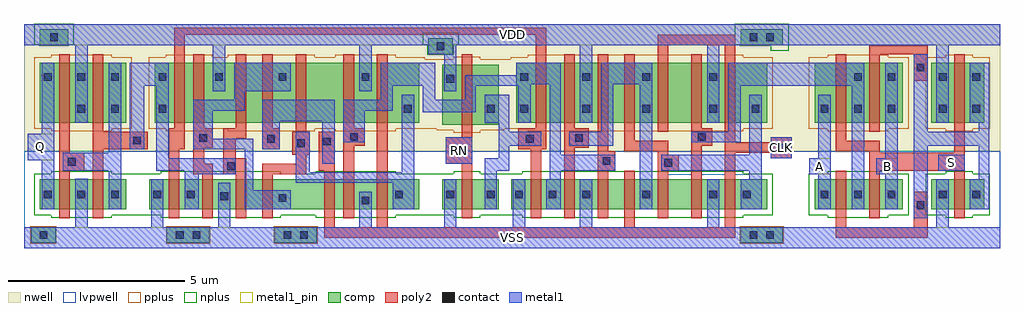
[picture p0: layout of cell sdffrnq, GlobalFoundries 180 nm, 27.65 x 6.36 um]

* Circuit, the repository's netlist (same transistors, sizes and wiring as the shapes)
* NGSPICE file created from sdffrnq.ext - technology: gf180mcuD

.subckt mux_as_component a_640_n30# a_1120_n30# a_459_n30# a_1120_460# w_330_300#
+ a_830_n30# a_580_300# VSUBS
X0 a_580_n190# a_580_300# a_1120_460# w_330_300# pfet_03v3 ad=0.935p pd=4.5u as=1.105p ps=4.7u w=1.7u l=0.3u
X1 a_640_n30# a_580_300# a_459_n30# w_330_300# pfet_03v3 ad=0.5525p pd=2.35u as=1.0285p ps=4.61u w=1.7u l=0.3u
X2 a_830_n30# a_580_300# a_640_n30# VSUBS nfet_03v3 ad=0.5525p pd=3u as=0.27625p ps=1.5u w=0.85u l=0.3u
X3 a_580_n190# a_580_300# a_1120_n30# VSUBS nfet_03v3 ad=0.4675p pd=2.8u as=0.5525p ps=3u w=0.85u l=0.3u
X4 a_640_n30# a_580_n190# a_459_n30# VSUBS nfet_03v3 ad=0.27625p pd=1.5u as=0.51425p ps=2.91u w=0.85u l=0.3u
X5 a_830_n30# a_580_n190# a_640_n30# w_330_300# pfet_03v3 ad=1.105p pd=4.7u as=0.5525p ps=2.35u w=1.7u l=0.3u
.ends

.subckt sdffrnq VDD VSS A B S CLK RN Q
Xmux_as_component_0 a_2090_270# VSS A VDD VDD B S VSS mux_as_component
X0 a_n870_270# RN VDD VDD pfet_03v3 ad=1.275p pd=4.9u as=0.935p ps=4.5u w=1.7u l=0.3u
X1 a_n1490_270# a_n1300_270# VSS VSS nfet_03v3 ad=0.54825p pd=2.99u as=0.27625p ps=1.5u w=0.85u l=0.3u
X2 a_n1300_270# a_n870_270# VSS VSS nfet_03v3 ad=0.27625p pd=1.5u as=0.4675p ps=2.8u w=0.85u l=0.3u
X3 a_120_270# a_n870_270# VSS VSS nfet_03v3 ad=0.27625p pd=1.5u as=0.4675p ps=2.8u w=0.85u l=0.3u
X4 a_1370_270# CLK a_1620_320# VSS nfet_03v3 ad=0.27625p pd=1.5u as=0.19125p ps=1.3u w=0.85u l=0.3u
X5 a_n730_520# CLK a_n430_810# VDD pfet_03v3 ad=0.5525p pd=2.35u as=0.3825p ps=2.15u w=1.7u l=0.3u
X6 a_n340_270# CLK VSS VSS nfet_03v3 ad=0.765p pd=3.5u as=0.27625p ps=1.5u w=0.85u l=0.3u
X7 VDD a_n730_520# a_n780_810# VDD pfet_03v3 ad=0.765p pd=2.6u as=0.2125p ps=1.95u w=1.7u l=0.3u
X8 a_1620_810# a_120_270# VDD VDD pfet_03v3 ad=0.3825p pd=2.15u as=0.5525p ps=2.35u w=1.7u l=0.3u
X9 VDD a_120_270# a_n90_810# VDD pfet_03v3 ad=0.5525p pd=2.35u as=0.8925p ps=2.75u w=1.7u l=0.3u
X10 a_1710_650# CLK VDD VDD pfet_03v3 ad=1.53p pd=5.2u as=0.5525p ps=2.35u w=1.7u l=0.3u
X11 a_1270_810# a_n870_270# a_120_270# VDD pfet_03v3 ad=0.425p pd=2.2u as=0.935p ps=4.5u w=1.7u l=0.3u
X12 a_n730_520# a_n340_270# a_n430_320# VSS nfet_03v3 ad=0.61625p pd=2.3u as=0.19125p ps=1.3u w=0.85u l=0.3u
X13 a_1620_320# a_120_270# VSS VSS nfet_03v3 ad=0.19125p pd=1.3u as=0.27625p ps=1.5u w=0.85u l=0.3u
X14 VSS a_n730_520# a_n1300_270# VSS nfet_03v3 ad=0.27625p pd=1.5u as=0.27625p ps=1.5u w=0.85u l=0.3u
X15 a_70_320# CLK a_n730_520# VSS nfet_03v3 ad=0.10625p pd=1.1u as=0.61625p ps=2.3u w=0.85u l=0.3u
X16 VDD a_n1490_270# Q VDD pfet_03v3 ad=0.5525p pd=2.35u as=0.935p ps=4.5u w=1.7u l=0.3u
X17 a_n90_810# a_n340_270# a_n730_520# VDD pfet_03v3 ad=0.8925p pd=2.75u as=0.5525p ps=2.35u w=1.7u l=0.3u
X18 VSS a_120_270# a_70_320# VSS nfet_03v3 ad=0.27625p pd=1.5u as=0.10625p ps=1.1u w=0.85u l=0.3u
X19 a_n430_810# a_n1300_270# VDD VDD pfet_03v3 ad=0.3825p pd=2.15u as=0.765p ps=2.6u w=1.7u l=0.3u
X20 VDD a_1370_270# a_1270_810# VDD pfet_03v3 ad=0.5525p pd=2.35u as=0.425p ps=2.2u w=1.7u l=0.3u
X21 a_1960_810# CLK a_1370_270# VDD pfet_03v3 ad=0.5525p pd=2.35u as=0.5525p ps=2.35u w=1.7u l=0.3u
X22 a_1710_650# CLK VSS VSS nfet_03v3 ad=0.765p pd=3.5u as=0.27625p ps=1.5u w=0.85u l=0.3u
X23 a_n780_810# a_n870_270# a_n1300_270# VDD pfet_03v3 ad=0.2125p pd=1.95u as=0.935p ps=4.5u w=1.7u l=0.3u
X24 VDD a_2090_270# a_1960_810# VDD pfet_03v3 ad=0.5525p pd=2.35u as=0.5525p ps=2.35u w=1.7u l=0.3u
X25 VSS a_n1490_270# Q VSS nfet_03v3 ad=0.27625p pd=1.5u as=0.4675p ps=2.8u w=0.85u l=0.3u
X26 VSS a_1370_270# a_120_270# VSS nfet_03v3 ad=0.27625p pd=1.5u as=0.27625p ps=1.5u w=0.85u l=0.3u
X27 a_1960_320# a_1710_650# a_1370_270# VSS nfet_03v3 ad=0.27625p pd=1.5u as=0.27625p ps=1.5u w=0.85u l=0.3u
X28 a_n430_320# a_n1300_270# VSS VSS nfet_03v3 ad=0.19125p pd=1.3u as=0.27625p ps=1.5u w=0.85u l=0.3u
X29 a_n1490_270# a_n1300_270# VDD VDD pfet_03v3 ad=1.0965p pd=4.69u as=0.5525p ps=2.35u w=1.7u l=0.3u
X30 a_1370_270# a_1710_650# a_1620_810# VDD pfet_03v3 ad=0.5525p pd=2.35u as=0.3825p ps=2.15u w=1.7u l=0.3u
X31 VSS a_2090_270# a_1960_320# VSS nfet_03v3 ad=0.27625p pd=1.5u as=0.27625p ps=1.5u w=0.85u l=0.3u
X32 a_n870_270# RN VSS VSS nfet_03v3 ad=0.6375p pd=3.2u as=0.4675p ps=2.8u w=0.85u l=0.3u
X33 a_n340_270# CLK VDD VDD pfet_03v3 ad=1.53p pd=5.2u as=0.5525p ps=2.35u w=1.7u l=0.3u
.ends

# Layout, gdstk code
import gdstk
lib = gdstk.Library(unit=1e-6, precision=1e-09)
def R(c, l, rs):  # rectangles x0, y0, x1, y1
    for r in rs: c.add(gdstk.rectangle(r[:2], r[2:], *l))
def A(c, l, x, y, w, h, nx, ny, dx, dy):  # array of equal rectangles
    R(c, l, [(x+i*dx, y+j*dy, x+i*dx+w, y+j*dy+h) for i in range(nx) for j in range(ny)])
nwell = (21, 0)
comp = (22, 0)
poly2 = (30, 0)
pplus = (31, 0)
nplus = (32, 0)
contact = (33, 0)
metal1 = (34, 0)
metal1_pin = (34, 10)
lvpwell = (204, 0)

mux_as_component = lib.new_cell('mux_as_component')
R(mux_as_component, nwell, [(1.65,1.5,7.55,5.1)])
R(mux_as_component, comp, [(2.295,-0.15,4.8,0.7), (5.6,-0.15,7.1,0.7), (2.295,2.3,4.8,4), (5.6,2.3,7.1,4)])
R(mux_as_component, poly2, [(2.9,-0.95,5.5,-0.65), (2.9,-0.65,3.2,0.95), (5.1,-0.65,5.5,0.35), (3.85,-0.4,4.15,0.95), (6.25,-0.4,6.55,0.95), (3.85,0.95,6.55,1.45), (3.85,1.45,4.15,1.5), (6.25,1.45,6.55,4.25), (2.9,1.5,4.15,1.8), (2.9,1.8,3.2,4.25), (3.85,2.05,4.15,4.25), (5.1,3.5,5.5,4.25), (3.85,4.25,5.5,4.5)])
R(mux_as_component, pplus, [(2.67,2.07,4.38,2.14), (6.02,2.07,6.78,2.14), (2.135,2.14,4.96,4.16), (5.44,2.14,7.26,4.16), (2.67,4.16,4.38,4.23), (6.02,4.16,6.78,4.23)])
R(mux_as_component, nplus, [(2.67,-0.38,4.38,-0.31), (6.02,-0.38,6.78,-0.31), (2.135,-0.31,4.96,0.86), (5.44,-0.31,7.26,0.86), (2.67,0.86,4.38,0.93), (6.02,0.86,6.78,0.93)])
A(mux_as_component, contact, 2.465, 0.165, 0.22, 0.22, 3, 2, 0.95, 2.425)
R(mux_as_component, contact, [(5.19,-0.14,5.41,0.08), (5.815,0.165,6.035,0.385), (6.765,0.165,6.985,0.385), (6.065,1.09,6.285,1.31), (5.815,2.59,6.035,2.81), (6.765,2.59,6.985,2.81), (3.415,3.49,3.635,3.71), (4.365,3.49,4.585,3.71), (5.815,3.49,6.035,3.71), (6.765,3.49,6.985,3.71), (5.19,3.76,5.41,3.98)])
R(mux_as_component, metal1, [(1.65,-1.25,7.55,-0.65), (5.75,-0.65,6.1,0.7), (5.1,-0.4,5.5,1.65), (2.4,-0.15,2.75,0.85), (3.35,-0.15,3.7,3.35), (4.3,-0.15,4.65,0.85), (6.7,-0.15,7.25,0.7), (6.95,0.7,7.25,1.65), (2.15,0.85,2.75,1.3), (4.05,0.85,4.65,1.3), (5.8,0.95,6.55,1.4), (2.4,1.3,2.75,3.1), (4.3,1.3,4.65,4), (5.1,1.65,7.25,2.05), (5.1,2.05,5.5,4.25), (6.95,2.05,7.25,2.3), (5.75,2.3,6.1,4.5), (6.7,2.3,7.25,4), (1.65,3.35,3.7,4), (1.65,4.5,7.55,5.1)])
R(mux_as_component, lvpwell, [(1.65,-1.25,7.55,1.5)])

sdffrnq = lib.new_cell('sdffrnq')
R(sdffrnq, nwell, [(-8.45,3.25,13.3,6.85)])
R(sdffrnq, comp, [(-8.25,0.65,-7.55,1.1), (-4.4,0.65,-3.2,1.1), (-1.35,0.65,-0.15,1.1), (11.85,0.65,13.05,1.1), (-8,1.6,-5.555,2.45), (-4.9,1.6,2.75,2.45), (3.4,1.6,5,2.45), (5.35,1.6,12.6,2.45), (3.4,4,5,5.7), (-8,4.05,-5.555,5.75), (-4.75,4.05,2.75,5.75), (5.5,4.05,12.6,5.75), (3,6,3.7,6.45), (-8,6.25,-7.2,6.7), (11.85,6.25,13.05,6.7)])
R(sdffrnq, poly2, [(0.05,0.8,11.7,1.1), (0.05,1.1,0.35,2.7), (1.55,1.1,1.85,6), (8.55,1.1,8.85,2.7), (11.4,1.1,11.7,3.2), (-7.45,1.35,-7.15,2.7), (-6.5,1.35,-6.2,3.3), (-4.35,1.35,-4.05,3.3), (-3.4,1.35,-3.1,2.6), (-2.45,1.35,-2.15,2.6), (-1.7,1.35,-1.4,2.6), (0.6,1.35,0.9,3.4), (3.95,1.35,4.25,2.9), (5.9,1.35,6.2,3.3), (6.85,1.35,7.15,3.35), (7.8,1.35,8.1,2.7), (9.5,1.35,9.8,2.7), (10.45,1.35,10.75,3.4), (-3.65,2.6,-3.1,2.9), (-2.8,2.6,-2.15,3.05), (-1.7,2.6,-0.45,2.9), (-7.45,2.7,-6.75,3.2), (-0.1,2.7,0.35,3.8), (7.8,2.7,8.3,3.25), (9.5,2.7,10.1,3.15), (-3.65,2.9,-3.35,3.35), (-0.75,2.9,-0.45,3.15), (3.5,2.9,4.25,3.65), (-2.8,3.05,-2.45,3.6), (12.7,3.05,13.3,3.2), (-0.85,3.15,-0.35,3.8), (9.5,3.15,9.8,3.25), (-7.45,3.2,-7.15,6), (11.4,3.2,13.3,3.5), (7.8,3.25,8.1,6), (8.55,3.25,9.8,3.55), (-6.5,3.3,-4.95,3.8), (-4.35,3.3,-3.9,3.9), (-1.7,3.3,-1.2,3.9), (5.55,3.3,6.35,3.9), (-3.65,3.35,-3.1,3.9), (6.85,3.35,7.55,3.9), (0.6,3.4,1.2,3.9), (10.45,3.4,11.05,3.9), (11.4,3.5,11.7,6.25), (12.7,3.5,13.3,3.65), (8.55,3.55,8.85,6), (-2.8,3.6,-2.15,3.9), (3.95,3.65,4.25,6), (-6.5,3.8,-6.2,6), (-0.75,3.8,-0.45,6), (9.5,3.8,9.8,6.25), (-4.2,3.9,-3.9,6.55), (-3.65,3.9,-3.35,6), (-2.45,3.9,-2.15,6), (-1.7,3.9,-1.4,6), (0.6,3.9,0.9,6), (6.05,3.9,6.35,6.55), (6.85,3.9,7.15,6), (10.45,3.9,10.75,6), (9.5,6.25,11.7,6.55), (-4.2,6.55,6.35,6.75)])
R(sdffrnq, pplus, [(-8.27,0.63,-7.53,1.12), (-4.42,0.63,-3.18,1.12), (-1.37,0.63,-0.13,1.12), (11.83,0.63,13.07,1.12), (3.72,3.77,4.48,3.84), (-7.68,3.82,-5.97,3.89), (-4.43,3.82,-3.12,3.89), (-2.68,3.82,-0.22,3.89), (0.37,3.82,2.08,3.89), (5.82,3.82,11.93,3.89), (3.24,3.84,5.16,3.89), (-8.16,3.89,-5.395,5.91), (-4.91,3.89,12.76,5.86), (-4.91,5.86,2.91,5.91), (3.72,5.86,4.48,5.93), (5.34,5.86,12.76,5.91), (-7.68,5.91,-5.97,5.98), (-4.43,5.91,-3.12,5.98), (-2.68,5.91,-0.22,5.98), (0.37,5.91,2.08,5.98), (5.82,5.91,11.93,5.98)])
R(sdffrnq, nplus, [(-7.68,1.37,-5.97,1.44), (-4.58,1.37,-1.17,1.44), (-0.18,1.37,2.08,1.44), (3.72,1.37,4.48,1.44), (5.67,1.37,11.93,1.44), (-8.16,1.44,12.76,2.61), (-7.68,2.61,-5.97,2.68), (-4.58,2.61,-1.17,2.68), (-0.18,2.61,2.08,2.68), (3.72,2.61,4.48,2.68), (5.67,2.61,11.93,2.68), (2.98,5.98,3.72,6.26), (12.71,6.09,13.21,6.23), (-8.02,6.23,-7.18,6.26), (11.83,6.23,13.21,6.26), (-8.16,6.26,-7.04,6.86), (2.84,6.26,3.86,6.61), (11.69,6.26,13.21,6.86)])
A(sdffrnq, contact, -7.885, 1.915, 0.22, 0.22, 3, 2, 0.95, 3.325)
A(sdffrnq, contact, 5.465, 1.915, 0.22, 0.22, 3, 1, 0.95, 0)
R(sdffrnq, contact, [(-8.01,0.765,-7.79,0.985), (-4.145,0.765,-3.925,0.985), (-3.675,0.765,-3.455,0.985), (-1.095,0.765,-0.875,0.985), (-0.625,0.765,-0.405,0.985), (12.105,0.765,12.325,0.985), (12.575,0.765,12.795,0.985), (1.115,1.74,1.335,1.96), (-1.235,1.815,-1.015,2.035), (-2.885,1.865,-2.665,2.085), (-4.785,1.915,-4.565,2.135), (-3.835,1.915,-3.615,2.135), (2.065,1.915,2.285,2.135), (3.515,1.915,3.735,2.135), (4.665,1.915,4.885,2.135), (9.065,1.915,9.285,2.135), (10.965,1.915,11.185,2.135), (11.915,1.915,12.135,2.135), (-2.685,2.715,-2.465,2.935), (9.69,2.815,9.91,3.035), (-7.21,2.84,-6.99,3.06), (7.94,2.865,8.16,3.085), (3.765,3.165,3.985,3.385), (12.89,3.24,13.11,3.46), (-0.71,3.365,-0.49,3.585), (0.015,3.415,0.235,3.635), (-5.36,3.44,-5.14,3.66), (-1.56,3.49,-1.34,3.71), (5.765,3.49,5.985,3.71), (-3.485,3.515,-3.265,3.735), (7.165,3.515,7.385,3.735), (0.79,3.54,1.01,3.76), (10.64,3.54,10.86,3.76), (-6.935,4.34,-6.715,4.56), (-5.985,4.34,-5.765,4.56), (-4.635,4.34,-4.415,4.56), (2.315,4.34,2.535,4.56), (4.665,4.34,4.885,4.56), (5.615,4.34,5.835,4.56), (7.365,4.34,7.585,4.56), (9.065,4.34,9.285,4.56), (10.965,4.34,11.185,4.56), (12.165,4.34,12.385,4.56), (3.515,5.19,3.735,5.41), (-4.635,5.24,-4.415,5.46), (-3.035,5.24,-2.815,5.46), (-1.235,5.24,-1.015,5.46), (1.115,5.24,1.335,5.46), (5.615,5.24,5.835,5.46), (7.365,5.24,7.585,5.46), (9.065,5.24,9.285,5.46), (10.965,5.24,11.185,5.46), (3.24,6.115,3.46,6.335), (-7.71,6.365,-7.49,6.585), (12.105,6.365,12.325,6.585), (12.575,6.365,12.795,6.585)])
R(sdffrnq, metal1, [(-8.45,0.5,13.3,1.1), (-7,1.1,-6.645,2.47), (-4.85,1.1,-4.5,2.45), (-2.95,1.1,-2.6,2.35), (1.05,1.1,1.4,2.1), (3.45,1.1,3.8,2.45), (5.4,1.1,5.75,2.45), (7.3,1.1,7.65,2.45), (10.9,1.1,11.25,2.45), (-7.95,1.6,-7.6,3), (-6.05,1.6,-5.7,2.7), (-3.9,1.6,-3.5,2.6), (-2.2,1.6,-0.9,2.15), (2,1.6,2.6,2.35), (4.6,1.6,4.95,2.7), (6.35,1.6,6.75,2.45), (9,1.6,9.35,5.15), (11.85,1.6,12.45,2.45), (-2.2,2.15,-1.95,3.3), (-0.75,2.35,2.6,2.65), (6.45,2.45,6.75,2.7), (12.1,2.45,12.45,2.7), (-3.9,2.6,-2.45,2.7), (-0.75,2.65,-0.35,3.8), (2.25,2.65,2.6,4.85), (-7.35,2.7,-5.7,3.2), (-4.7,2.7,-2.45,3.05), (4.6,2.7,5.3,3.05), (6.45,2.7,8.3,3.15), (9.6,2.7,12.45,3.15), (0,2.9,0.35,4.1), (3.5,2.9,4.25,3.65), (-8.35,3,-7.6,3.75), (-4.7,3.05,-4.35,5.1), (5,3.05,5.3,3.4), (12.7,3.05,13.3,3.65), (6.45,3.15,6.75,5.15), (12.1,3.15,12.45,4.85), (-6.05,3.2,-5.7,5.75), (-5.45,3.3,-5.05,5.1), (-3.65,3.3,-1.95,3.6), (-1.7,3.3,-1.2,4.1), (5,3.4,6.2,3.8), (7,3.4,8.25,3.8), (0.6,3.5,1.2,4.4), (10.45,3.5,11.85,3.8), (-3.65,3.6,-3.1,4.4), (-7.95,3.75,-7.6,5.75), (5,3.8,5.3,4.05), (7.9,3.8,8.25,5.15), (11.5,3.8,11.85,5.1), (-7,4.05,-6.65,4.7), (4.6,4.05,5.3,4.85), (5.55,4.05,5.9,5.1), (7.3,4.05,7.65,6.25), (10.9,4.05,11.25,6.25), (-1.7,4.1,0.35,4.7), (2.85,4.35,4.35,4.7), (-3.65,4.4,-2.2,4.7), (0.6,4.4,2,4.7), (-7,4.7,-6.645,6.25), (-2.5,4.7,-2.2,4.95), (1.65,4.7,2,5.1), (2.85,4.7,3.2,5.1), (4.05,4.7,4.35,5.1), (-3.1,4.95,-2.75,6.25), (-2.5,4.95,-0.9,5.75), (1.05,4.95,1.4,6.25), (3.45,4.95,3.8,6), (-5.45,5.1,-4.35,5.75), (1.65,5.1,3.2,5.75), (4.05,5.1,5.9,5.15), (11.5,5.1,13.3,5.75), (4.05,5.15,6.75,5.4), (7.9,5.15,9.35,5.75), (5.5,5.4,6.75,5.75), (3,6,3.8,6.25), (-8.45,6.25,13.3,6.85)])
R(sdffrnq, metal1_pin, [(-8.45,0.5,19.2,1.1), (13.8,2.6,14.4,3.05), (15.7,2.6,16.3,3.05), (17.45,2.7,18.2,3.15), (3.5,2.9,4.25,3.65), (-8.35,3,-7.6,3.75), (12.7,3.05,13.3,3.65), (-8.45,6.25,19.2,6.85)])
R(sdffrnq, lvpwell, [(-8.45,0.5,13.3,2.6), (-8.45,2.6,9.8,2.7), (10.45,2.6,10.75,2.7), (11.4,2.6,11.7,2.7), (12.1,2.6,13.3,2.7), (-8.45,2.7,13.3,3.25)])
sdffrnq.add(gdstk.Reference(mux_as_component, (11.65,1.75)))
sdffrnq.add(gdstk.Label('VDD', (5.375,6.55), layer=34, texttype=10))
sdffrnq.add(gdstk.Label('VSS', (5.375,0.8), layer=34, texttype=10))
sdffrnq.add(gdstk.Label('A', (14.1,2.825), layer=34, texttype=10))
sdffrnq.add(gdstk.Label('B', (16,2.825), layer=34, texttype=10))
sdffrnq.add(gdstk.Label('S', (17.825,2.925), layer=34, texttype=10))
sdffrnq.add(gdstk.Label('CLK', (13,3.35), layer=34, texttype=10))
sdffrnq.add(gdstk.Label('RN', (3.875,3.275), layer=34, texttype=10))
sdffrnq.add(gdstk.Label('Q', (-7.975,3.375), layer=34, texttype=10))

lib.write_gds('sdffrnq.gds')
